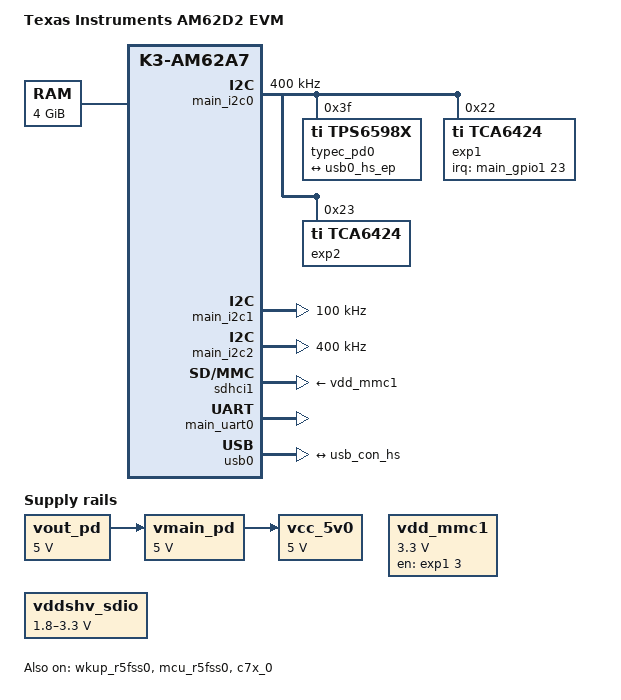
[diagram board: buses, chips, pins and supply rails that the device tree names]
// SPDX-License-Identifier: GPL-2.0-only OR MIT
/*
 * AM62D2 EVM: https://www.ti.com/lit/zip/sprcal5
 *
 * Copyright (C) 2025 Texas Instruments Incorporated - https://www.ti.com/
 */

/dts-v1/;

#include <dt-bindings/leds/common.h>
#include <dt-bindings/gpio/gpio.h>
#include <dt-bindings/net/ti-dp83867.h>
#include "k3-am62a7.dtsi"

/ {
	compatible = "ti,am62d2-evm", "ti,am62d2";
	model = "Texas Instruments AM62D2 EVM";

	aliases {
		serial0 = &wkup_uart0;
		serial1 = &mcu_uart0;
		serial2 = &main_uart0;
		mmc1 = &sdhci1;
		rtc0 = &wkup_rtc0;
	};

	chosen {
		stdout-path = "serial2:115200n8";
	};

	memory@80000000 {
		device_type = "memory";
		/* 4G RAM */
		reg = <0x00000000 0x80000000 0x00000000 0x80000000>,
		      <0x00000008 0x80000000 0x00000000 0x80000000>;
	};

	reserved-memory {
		#address-cells = <2>;
		#size-cells = <2>;
		ranges;

		/* global cma region */
		linux,cma {
			compatible = "shared-dma-pool";
			reusable;
			size = <0x00 0x2000000>;
			alloc-ranges = <0x00 0xc0000000 0x00 0x2000000>;
			linux,cma-default;
		};

		c7x_0_dma_memory_region: c7x-dma-memory@99800000 {
			compatible = "shared-dma-pool";
			reg = <0x00 0x99800000 0x00 0x100000>;
			no-map;
		};

		c7x_0_memory_region: c7x-memory@99900000 {
			compatible = "shared-dma-pool";
			reg = <0x00 0x99900000 0x00 0xf00000>;
			no-map;
		};

		mcu_r5fss0_core0_dma_memory_region: r5f-dma-memory@9b800000 {
			compatible = "shared-dma-pool";
			reg = <0x00 0x9b800000 0x00 0x100000>;
			no-map;
		};

		mcu_r5fss0_core0_memory_region: r5f-dma-memory@9b900000 {
			compatible = "shared-dma-pool";
			reg = <0x00 0x9b900000 0x00 0xf00000>;
			no-map;
		};

		wkup_r5fss0_core0_dma_memory_region: r5f-dma-memory@9c800000 {
			compatible = "shared-dma-pool";
			reg = <0x00 0x9c800000 0x00 0x100000>;
			no-map;
		};

		wkup_r5fss0_core0_memory_region: r5f-dma-memory@9c900000 {
			compatible = "shared-dma-pool";
			reg = <0x00 0x9c900000 0x00 0xf00000>;
			no-map;
		};

		secure_tfa_ddr: tfa@9e780000 {
			reg = <0x00 0x9e780000 0x00 0x80000>;
			alignment = <0x1000>;
			no-map;
		};

		secure_ddr: optee@9e800000 {
			reg = <0x00 0x9e800000 0x00 0x01800000>; /* for OP-TEE */
			alignment = <0x1000>;
			no-map;
		};
	};

	opp-table {
		/* Requires VDD_CORE at 0v85 */
		opp-1400000000 {
			opp-hz = /bits/ 64 <1400000000>;
			opp-supported-hw = <0x01 0x0004>;
			clock-latency-ns = <6000000>;
		};
	};

	vout_pd: regulator-1 {
		/* TPS65988 PD CONTROLLER OUTPUT */
		compatible = "regulator-fixed";
		regulator-name = "vout_pd";
		regulator-min-microvolt = <5000000>;
		regulator-max-microvolt = <5000000>;
		regulator-always-on;
		regulator-boot-on;
	};

	vmain_pd: load-switch {
		/* Output of TPS22811 */
		compatible = "regulator-fixed";
		regulator-name = "vmain_pd";
		regulator-min-microvolt = <5000000>;
		regulator-max-microvolt = <5000000>;
		vin-supply = <&vout_pd>;
		regulator-always-on;
		regulator-boot-on;
	};

	vcc_5v0: regulator-2 {
		/* Output of TPS630702RNMR */
		compatible = "regulator-fixed";
		regulator-name = "vcc_5v0";
		regulator-min-microvolt = <5000000>;
		regulator-max-microvolt = <5000000>;
		vin-supply = <&vmain_pd>;
		regulator-always-on;
		regulator-boot-on;
	};

	vdd_mmc1: regulator-3 {
		/* TPS22918DBVR */
		compatible = "regulator-fixed";
		regulator-name = "vdd_mmc1";
		regulator-min-microvolt = <3300000>;
		regulator-max-microvolt = <3300000>;
		regulator-boot-on;
		enable-active-high;
		gpio = <&exp1 3 GPIO_ACTIVE_HIGH>;
	};

	vddshv_sdio: regulator-4 {
		compatible = "regulator-gpio";
		regulator-name = "vddshv_sdio";
		pinctrl-names = "default";
		pinctrl-0 = <&vddshv_sdio_pins_default>;
		regulator-min-microvolt = <1800000>;
		regulator-max-microvolt = <3300000>;
		regulator-boot-on;
		gpios = <&main_gpio1 31 GPIO_ACTIVE_HIGH>;
		states = <1800000 0x0>,
			 <3300000 0x1>;
	};
};

&mcu_pmx0 {
	wkup_uart0_pins_default: wkup-uart0-default-pins {
		pinctrl-single,pins = <
			AM62DX_MCU_IOPAD(0x0024, PIN_INPUT, 0) /* (C9) WKUP_UART0_RXD */
			AM62DX_MCU_IOPAD(0x0028, PIN_OUTPUT, 0) /* (E9) WKUP_UART0_TXD */
			AM62DX_MCU_IOPAD(0x002c, PIN_INPUT, 0) /* (C10) WKUP_UART0_CTSn */
			AM62DX_MCU_IOPAD(0x0030, PIN_OUTPUT, 0) /* (C8) WKUP_UART0_RTSn */
		>;
	};
};

/* WKUP UART0 is used for DM firmware logs */
&wkup_uart0 {
	pinctrl-names = "default";
	pinctrl-0 = <&wkup_uart0_pins_default>;
	status = "reserved";
};

&main_pmx0 {
	main_uart0_pins_default: main-uart0-default-pins {
		pinctrl-single,pins = <
			AM62DX_IOPAD(0x01c8, PIN_INPUT, 0) /* (E14) UART0_RXD */
			AM62DX_IOPAD(0x01cc, PIN_OUTPUT, 0) /* (D15) UART0_TXD */
		>;
	};

	main_i2c0_pins_default: main-i2c0-default-pins {
		pinctrl-single,pins = <
			AM62DX_IOPAD(0x01e0, PIN_INPUT_PULLUP, 0) /* (D17) I2C0_SCL */
			AM62DX_IOPAD(0x01e4, PIN_INPUT_PULLUP, 0) /* (E16) I2C0_SDA */
		>;
	};

	main_i2c1_pins_default: main-i2c1-default-pins {
		pinctrl-single,pins = <
			AM62DX_IOPAD(0x01e8, PIN_INPUT_PULLUP, 0) /* (C17) I2C1_SCL */
			AM62DX_IOPAD(0x01ec, PIN_INPUT_PULLUP, 0) /* (E17) I2C1_SDA */
		>;
	};

	main_i2c2_pins_default: main-i2c2-default-pins {
		pinctrl-single,pins = <
			AM62DX_IOPAD(0x00b0, PIN_INPUT_PULLUP, 1) /* (M22) GPMC0_CSn2.I2C2_SCL */
			AM62DX_IOPAD(0x00b4, PIN_INPUT_PULLUP, 1) /* (M20) GPMC0_CSn3.I2C2_SDA */
		>;
	};

	main_mmc1_pins_default: main-mmc1-default-pins {
		pinctrl-single,pins = <
			AM62DX_IOPAD(0x023c, PIN_INPUT, 0) /* (C21) MMC1_CMD */
			AM62DX_IOPAD(0x0234, PIN_OUTPUT, 0) /* (E22) MMC1_CLK */
			AM62DX_IOPAD(0x0230, PIN_INPUT, 0) /* (B22) MMC1_DAT0 */
			AM62DX_IOPAD(0x022c, PIN_INPUT_PULLUP, 0) /* (D21) MMC1_DAT1 */
			AM62DX_IOPAD(0x0228, PIN_INPUT_PULLUP, 0) /* (C22) MMC1_DAT2 */
			AM62DX_IOPAD(0x0224, PIN_INPUT_PULLUP, 0) /* (D22) MMC1_DAT3 */
			AM62DX_IOPAD(0x0240, PIN_INPUT, 0) /* (E18) MMC1_SDCD */
			AM62DX_IOPAD(0x0244, PIN_INPUT, 0) /* (D18) MMC1_SDWP */
		>;
	};

	main_mdio1_pins_default: main-mdio1-default-pins {
		pinctrl-single,pins = <
			AM62DX_IOPAD(0x160, PIN_OUTPUT, 0) /* (V12) MDIO0_MDC */
			AM62DX_IOPAD(0x15c, PIN_INPUT, 0) /* (V13) MDIO0_MDIO */
		>;
	};

	main_gpio1_ioexp_intr_pins_default: main-gpio1-ioexp-intr-default-pins {
		pinctrl-single,pins = <
			AM62DX_IOPAD(0x01d4, PIN_INPUT, 7) /* (C15) UART0_RTSn.GPIO1_23 */
		>;
	};

	vddshv_sdio_pins_default: vddshv-sdio-default-pins {
		pinctrl-single,pins = <
			AM62DX_IOPAD(0x1F4, PIN_OUTPUT, 7) /* (M19) GPMC0_CLK.GPIO1_31 */
		>;
	};
};

&mcu_pmx0 {
	status = "okay";

	pmic_irq_pins_default: pmic-irq-default-pins {
		pinctrl-single,pins = <
			AM62DX_MCU_IOPAD(0x000, PIN_INPUT, 7) /* (E11) MCU_GPIO0_0 */
		>;
	};
};

&mcu_gpio0 {
	status = "okay";
};

&main_i2c0 {
	status = "okay";
	pinctrl-names = "default";
	pinctrl-0 = <&main_i2c0_pins_default>;
	clock-frequency = <400000>;

	typec_pd0: usb-power-controller@3f {
		compatible = "ti,tps6598x";
		reg = <0x3f>;

		connector {
			compatible = "usb-c-connector";
			label = "USB-C";
			self-powered;
			data-role = "dual";
			power-role = "sink";
			port {
				usb_con_hs: endpoint {
					remote-endpoint = <&usb0_hs_ep>;
				};
			};
		};
	};

	exp1: gpio@22 {
		compatible = "ti,tca6424";
		reg = <0x22>;
		gpio-controller;
		#gpio-cells = <2>;
		interrupt-parent = <&main_gpio1>;
		interrupts = <23 IRQ_TYPE_EDGE_FALLING>;
		interrupt-controller;
		#interrupt-cells = <2>;
		pinctrl-names = "default";
		pinctrl-0 = <&main_gpio1_ioexp_intr_pins_default>;

		gpio-line-names = "GPIO_CPSW2_RST", "GPIO_CPSW1_RST",
			"MMC1_SD_EN", "VPP_EN",
			"GPIO_DIX_RST", "IO_EXP_OPT_EN",
			"DIX_INT", "GPIO_eMMC_RSTn",
			"CPLD2_DONE", "CPLD2_INTN",
			"CPLD1_DONE", "CPLD1_INTN",
			"USB_TYPEA_OC_INDICATION", "PCM1_INT",
			"PCM2_INT", "GPIO_PCM1_RST",
			"TEST_GPIO2", "GPIO_PCM2_RST",
			"IO_MCAN0_STB", "IO_MCAN1_STB",
			"PD_I2C_IRQ", "IO_EXP_TEST_LED";
	};

	exp2: gpio@23 {
		compatible = "ti,tca6424";
		reg = <0x23>;
		gpio-controller;
		#gpio-cells = <2>;

		gpio-line-names = "", "DAC_LAT_CTRL",
			"CPLD1_JTAGENB", "CPLD1_PROGRAMN",
			"CPLD2_JTAGENB", "CPLD2_PROGRAMN",
			"", "",
			"", "",
			"", "",
			"", "",
			"", "",
			"", "",
			"SoC_I2C0_SCL", "SoC_I2C0_SDA";
	};
};

&main_i2c1 {
	status = "okay";
	pinctrl-names = "default";
	pinctrl-0 = <&main_i2c1_pins_default>;
	clock-frequency = <100000>;
	bootph-all;
};

&main_i2c2 {
	status = "okay";
	pinctrl-names = "default";
	pinctrl-0 = <&main_i2c2_pins_default>;
	clock-frequency = <400000>;
};

&sdhci1 {
	/* SD/MMC */
	status = "okay";
	vmmc-supply = <&vdd_mmc1>;
	vqmmc-supply = <&vddshv_sdio>;
	pinctrl-names = "default";
	pinctrl-0 = <&main_mmc1_pins_default>;
	disable-wp;
};

&main_gpio0 {
	status = "okay";
};

&main_gpio1 {
	status = "okay";
};

&main_gpio_intr {
	status = "okay";
};

&main_uart0 {
	status = "okay";
	pinctrl-names = "default";
	pinctrl-0 = <&main_uart0_pins_default>;
};

&usb0 {
	usb-role-switch;

	port {
		usb0_hs_ep: endpoint {
			remote-endpoint = <&usb_con_hs>;
		};
	};
};

&mailbox0_cluster0 {
	status = "okay";

	mbox_r5_0: mbox-r5-0 {
		ti,mbox-rx = <0 0 0>;
		ti,mbox-tx = <1 0 0>;
	};
};

&mailbox0_cluster1 {
	status = "okay";

	mbox_c7x_0: mbox-c7x-0 {
		ti,mbox-rx = <0 0 0>;
		ti,mbox-tx = <1 0 0>;
	};
};

&mailbox0_cluster2 {
	status = "okay";

	mbox_mcu_r5_0: mbox-mcu-r5-0 {
		ti,mbox-rx = <0 0 0>;
		ti,mbox-tx = <1 0 0>;
	};
};

&wkup_r5fss0 {
	status = "okay";
};

&wkup_r5fss0_core0 {
	mboxes = <&mailbox0_cluster0>, <&mbox_r5_0>;
	memory-region = <&wkup_r5fss0_core0_dma_memory_region>,
			<&wkup_r5fss0_core0_memory_region>;
};

&mcu_r5fss0 {
	status = "okay";
};

&mcu_r5fss0_core0 {
	mboxes = <&mailbox0_cluster2>, <&mbox_mcu_r5_0>;
	memory-region = <&mcu_r5fss0_core0_dma_memory_region>,
			<&mcu_r5fss0_core0_memory_region>;
};

&c7x_0 {
	status = "okay";

	mboxes = <&mailbox0_cluster1>, <&mbox_c7x_0>;
	memory-region = <&c7x_0_dma_memory_region>,
			<&c7x_0_memory_region>;
};

/* main_rti4 is used by C7x DSP */
&main_rti4 {
	status = "reserved";
};

/* main_timer2 is used by C7x DSP */
&main_timer2 {
	status = "reserved";
};
